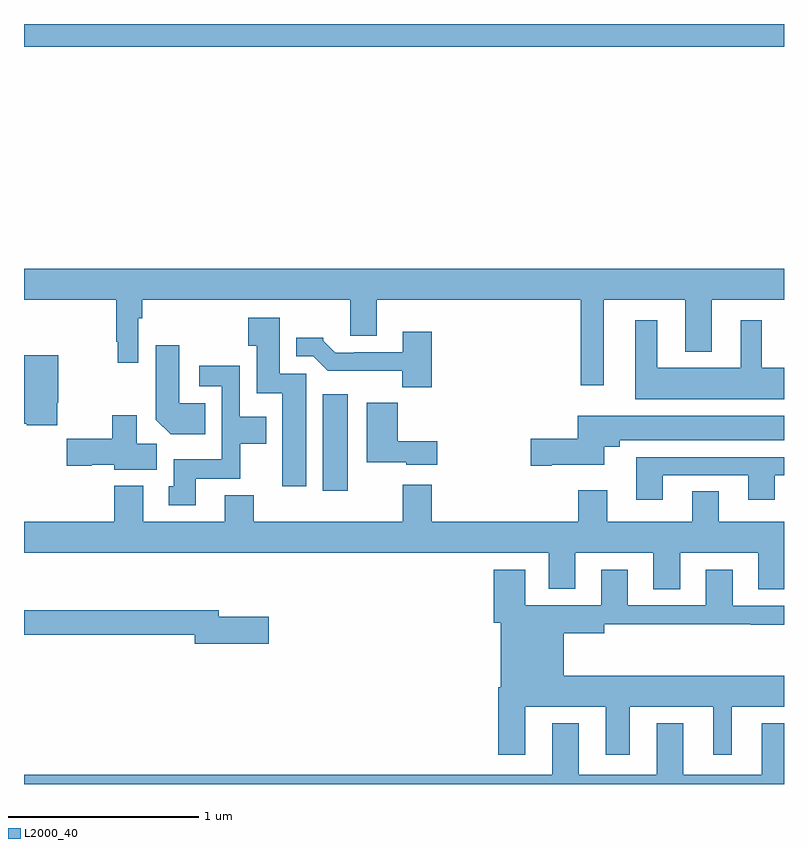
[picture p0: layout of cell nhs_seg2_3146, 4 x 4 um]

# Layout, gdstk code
import gdstk
lib = gdstk.Library(unit=1e-6, precision=1e-09)
def R(c, l, rs):  # rectangles x0, y0, x1, y1
    for r in rs: c.add(gdstk.rectangle(r[:2], r[2:], *l))
def P(c, l, *ps):  # polygons
    for p in ps: c.add(gdstk.Polygon(p, *l))
L2000_40 = (2000, 40)

nhs_seg2_3146 = lib.new_cell('nhs_seg2_3146')
R(nhs_seg2_3146, L2000_40, [(278.573,601.344,278.704,601.852), (277,603.68,281,603.8)])
P(nhs_seg2_3146, L2000_40, [(280.051,602.348),(280.481,602.348),(280.481,602.075),(280.621,602.075),(280.621,602.348),(281,602.348),(281,602.512),(277,602.512),(277,602.348),(277.486,602.348),(277.486,602.128),(277.494,602.128),(277.494,602.016),(277.602,602.016),(277.602,602.252),(277.622,602.252),(277.622,602.348),(278.717,602.348),(278.717,602.158),(278.857,602.158),(278.857,602.348),(279.93,602.348),(279.93,601.899),(280.051,601.899)],
  [(278.485,601.959),(278.347,601.959),(278.347,602.254),(278.179,602.254),(278.179,602.107),(278.225,602.107),(278.225,601.856),(278.36,601.856),(278.36,601.368),(278.485,601.368)],
  [(281,601.99),(280.882,601.99),(280.882,602.242),(280.772,602.242),(280.772,601.99),(280.333,601.99),(280.333,602.242),(280.217,602.242),(280.217,601.826),(281,601.826)],
  [(279.146,602.179),(278.993,602.179),(278.993,602.073),(278.737,602.073),(278.737,602.07),(278.638,602.07),(278.574,602.134),(278.574,602.149),(278.432,602.149),(278.432,602.052),(278.523,602.052),(278.599,601.976),(278.991,601.976),(278.991,601.889),(279.146,601.889)],
  [(277.955,601.804),(277.816,601.804),(277.816,602.11),(277.694,602.11),(277.694,601.718),(277.772,601.64),(277.955,601.64)],
  [(277.176,601.807),(277.181,601.807),(277.181,602.056),(277,602.056),(277,601.696),(277.014,601.696),(277.014,601.688),(277.176,601.688)],
  [(277.903,601.406),(278.139,601.406),(278.139,601.592),(278.275,601.592),(278.275,601.732),(278.136,601.732),(278.136,602.002),(277.923,602.002),(277.923,601.893),(278.04,601.893),(278.04,601.51),(277.787,601.51),(277.787,601.368),(277.763,601.368),(277.763,601.266),(277.903,601.266)],
  [(279.175,601.603),(278.966,601.603),(278.966,601.807),(278.804,601.807),(278.804,601.493),(279.012,601.493),(279.012,601.481),(279.175,601.481)],
  [(277.699,601.592),(277.594,601.592),(277.594,601.741),(277.465,601.741),(277.465,601.616),(277.224,601.616),(277.224,601.474),(277.356,601.474),(277.356,601.481),(277.476,601.481),(277.476,601.454),(277.699,601.454)],
  [(279.778,601.481),(280.054,601.481),(280.054,601.574),(280.135,601.574),(280.135,601.61),(281,601.61),(281,601.738),(279.914,601.738),(279.914,601.616),(279.666,601.616),(279.666,601.474),(279.778,601.474)],
  [(280.363,601.425),(280.811,601.425),(280.811,601.296),(280.951,601.296),(280.951,601.425),(281,601.425),(281,601.521),(280.223,601.521),(280.223,601.296),(280.363,601.296)],
  [(280.453,601.016),(280.865,601.016),(280.865,600.826),(281,600.826),(281,601.18),(280.657,601.18),(280.657,601.34),(280.517,601.34),(280.517,601.18),(280.069,601.18),(280.069,601.345),(279.917,601.345),(279.917,601.18),(279.146,601.18),(279.146,601.375),(278.993,601.375),(278.993,601.18),(278.21,601.18),(278.21,601.321),(278.057,601.321),(278.057,601.18),(277.627,601.18),(277.627,601.369),(277.475,601.369),(277.475,601.18),(277,601.18),(277,601.016),(279.761,601.016),(279.761,600.827),(279.901,600.827),(279.901,601.016),(280.313,601.016),(280.313,600.826),(280.453,600.826)],
  [(279.637,600.206),(280.061,600.206),(280.061,599.955),(280.189,599.955),(280.189,600.206),(280.628,600.206),(280.628,599.955),(280.726,599.955),(280.726,600.206),(281,600.206),(281,600.37),(279.841,600.37),(279.841,600.593),(280.054,600.593),(280.054,600.64),(280.825,600.64),(280.825,600.638),(281,600.638),(281,600.738),(280.729,600.738),(280.729,600.928),(280.589,600.928),(280.589,600.741),(280.177,600.741),(280.177,600.928),(280.037,600.928),(280.037,600.742),(279.637,600.742),(279.637,600.928),(279.473,600.928),(279.473,600.648),(279.509,600.648),(279.509,600.31),(279.497,600.31),(279.497,599.955),(279.637,599.955)],
  [(278.287,600.681),(278.026,600.681),(278.026,600.715),(277,600.715),(277,600.586),(277.898,600.586),(277.898,600.539),(278.287,600.539)],
  [(281,600.121),(280.883,600.121),(280.883,599.848),(280.471,599.848),(280.471,600.121),(280.331,600.121),(280.331,599.848),(279.919,599.848),(279.919,600.121),(279.779,600.121),(279.779,599.848),(277,599.848),(277,599.8),(281,599.8)])

lib.write_gds('nhs_seg2_3146.gds')
